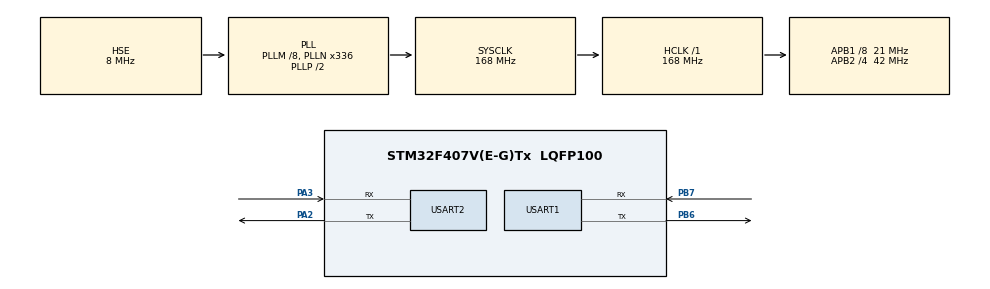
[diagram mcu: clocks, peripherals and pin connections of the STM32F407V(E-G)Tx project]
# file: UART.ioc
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Mcu.Family=STM32F4
Mcu.Name=STM32F407V(E-G)Tx
Mcu.Package=LQFP100
NVIC.PriorityGroup=NVIC_PRIORITYGROUP_0
NVIC.USART1_IRQn=true\:0\:0\:false\:false\:true\:true\:true
NVIC.USART2_IRQn=true\:0\:0\:false\:false\:true\:true\:true
PA2.Mode=Asynchronous
PA2.Signal=USART2_TX
PA3.Mode=Asynchronous
PA3.Signal=USART2_RX
PB6.Mode=Asynchronous
PB6.Signal=USART1_TX
PB7.Mode=Asynchronous
PB7.Signal=USART1_RX
PH0-OSC_IN.Mode=HSE-External-Oscillator
PH0-OSC_IN.Signal=RCC_OSC_IN
PH1-OSC_OUT.Mode=HSE-External-Oscillator
PH1-OSC_OUT.Signal=RCC_OSC_OUT
ProjectManager.HeapSize=0x200
ProjectManager.StackSize=0x400
ProjectManager.TargetToolchain=MDK-ARM V5.27
RCC.48MHZClocksFreq_Value=48000000
RCC.AHBFreq_Value=168000000
RCC.APB1CLKDivider=RCC_HCLK_DIV8
RCC.APB1Freq_Value=21000000
RCC.APB1TimFreq_Value=42000000
RCC.APB2CLKDivider=RCC_HCLK_DIV4
RCC.APB2Freq_Value=42000000
RCC.APB2TimFreq_Value=84000000
RCC.CortexFreq_Value=168000000
RCC.HCLKFreq_Value=168000000
RCC.HSE_VALUE=8000000
RCC.HSI_VALUE=16000000
RCC.LSE_VALUE=32768
RCC.PLLM=8
RCC.PLLN=336
RCC.PLLQ=7
RCC.PLLSourceVirtual=RCC_PLLSOURCE_HSE
RCC.SYSCLKFreq_VALUE=168000000
RCC.SYSCLKSource=RCC_SYSCLKSOURCE_PLLCLK
RCC.VCOOutputFreq_Value=336000000
USART1.VirtualMode=VM_ASYNC
USART2.VirtualMode=VM_ASYNC
board=STM32F407G-DISC1

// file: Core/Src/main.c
/* USER CODE BEGIN Header */
/**
  ******************************************************************************
  * @file           : main.c
  * @brief          : Main program body
  ******************************************************************************
  * @attention
  *
  * <h2><center>&copy; Copyright (c) 2020 STMicroelectronics.
  * All rights reserved.</center></h2>
  *
  * This software component is licensed by ST under BSD 3-Clause license,
  * the "License"; You may not use this file except in compliance with the
  * License. You may obtain a copy of the License at:
  *                        opensource.org/licenses/BSD-3-Clause
  *
  ******************************************************************************
  */
/* USER CODE END Header */
#include "main.h"

/* USER CODE BEGIN Includes */
#include "H:\Jorge\UPM\master\TFM\PruebaARM\DobleUART\MDK-ARM\encode.h"
#include "H:\Jorge\UPM\master\TFM\PruebaARM\DobleUART\MDK-ARM\decode.h"
#include "H:\Jorge\UPM\master\TFM\PruebaARM\DobleUART\MDK-ARM\comandos.h"
#include <stdio.h>
#include <stdlib.h>
#include <string.h>
#include <stdio.h>

//#include <time.h>

/* USER CODE END Includes */

UART_HandleTypeDef huart1;
UART_HandleTypeDef huart2;

/* USER CODE BEGIN PV */

#define FRAME_HEADER_LEN 5
#define FRAME_PAYLOAD_MAX_LEN 1268

/* USER CODE END PV */
uint8_t a = 0x32;
size_t ReceiveBufferSize = 512;
#define RX_SIZE 512
uint8_t PacketMarker = 0;
uint8_t cadena[3];
uint8_t receiveBuffer[RX_SIZE];
volatile int indice = 0;

/*int __io_putchar(int ch)
{
	HAL_UART_Transmit(&huart2,(uint8_t*)&ch, 1,100);
	return ch;
}*/

void SystemClock_Config(void);
static void MX_GPIO_Init(void);
static void MX_USART1_UART_Init(void);
static void MX_USART2_UART_Init(void);
/* USER CODE BEGIN PFP */

static void send(uint8_t *buffer, size_t size);
static void receive(void);
static void InicioFed(void);
static void XOR_CKS(uint8_t *frame);
uint8_t uart_recvChar(uint8_t *byte);
static void hextobin( const char *str, uint8_t *dst, size_t len );

/* USER CODE END PFP */

int main(void)
{

  /* MCU Configuration--------------------------------------------------------*/

  /* Reset of all peripherals, Initializes the Flash interface and the Systick. */
  HAL_Init();

  /* Configure the system clock */
  SystemClock_Config();

  /* Initialize all configured peripherals */
  MX_GPIO_Init();
  MX_USART1_UART_Init();
  MX_USART2_UART_Init();
  /* USER CODE BEGIN 2 */

	//HAL_UART_Receive_IT(&huart1, cadena, 1);

  /* USER CODE END 2 */
	InicioFed();
  /* Infinite loop */
  while (1)
  {
		send(Status,(sizeof(Status)/sizeof(Status[0])));
		receive();
		HAL_Delay(1000);
		send(ThreadVersion,(sizeof(ThreadVersion)/sizeof(ThreadVersion[0])));
		receive();
		HAL_Delay(5000);

  }
}

void SystemClock_Config(void)
{
  RCC_OscInitTypeDef RCC_OscInitStruct = {0};
  RCC_ClkInitTypeDef RCC_ClkInitStruct = {0};

  /** Configure the main internal regulator output voltage
  */
  __HAL_RCC_PWR_CLK_ENABLE();
  __HAL_PWR_VOLTAGESCALING_CONFIG(PWR_REGULATOR_VOLTAGE_SCALE1);
  /** Initializes the RCC Oscillators according to the specified parameters
  * in the RCC_OscInitTypeDef structure.
  */
  RCC_OscInitStruct.OscillatorType = RCC_OSCILLATORTYPE_HSE;
  RCC_OscInitStruct.HSEState = RCC_HSE_ON;
  RCC_OscInitStruct.PLL.PLLState = RCC_PLL_ON;
  RCC_OscInitStruct.PLL.PLLSource = RCC_PLLSOURCE_HSE;
  RCC_OscInitStruct.PLL.PLLM = 8;
  RCC_OscInitStruct.PLL.PLLN = 336;
  RCC_OscInitStruct.PLL.PLLP = RCC_PLLP_DIV2;
  RCC_OscInitStruct.PLL.PLLQ = 7;
  if (HAL_RCC_OscConfig(&RCC_OscInitStruct) != HAL_OK)
  {
    Error_Handler();
  }
  /** Initializes the CPU, AHB and APB buses clocks
  */
  RCC_ClkInitStruct.ClockType = RCC_CLOCKTYPE_HCLK|RCC_CLOCKTYPE_SYSCLK
                              |RCC_CLOCKTYPE_PCLK1|RCC_CLOCKTYPE_PCLK2;
  RCC_ClkInitStruct.SYSCLKSource = RCC_SYSCLKSOURCE_PLLCLK;
  RCC_ClkInitStruct.AHBCLKDivider = RCC_SYSCLK_DIV1;
  RCC_ClkInitStruct.APB1CLKDivider = RCC_HCLK_DIV8;
  RCC_ClkInitStruct.APB2CLKDivider = RCC_HCLK_DIV4;

  if (HAL_RCC_ClockConfig(&RCC_ClkInitStruct, FLASH_LATENCY_5) != HAL_OK)
  {
    Error_Handler();
  }
}

static void MX_USART1_UART_Init(void)
{

  huart1.Instance = USART1;
  huart1.Init.BaudRate = 115200;
  huart1.Init.WordLength = UART_WORDLENGTH_8B;
  huart1.Init.StopBits = UART_STOPBITS_1;
  huart1.Init.Parity = UART_PARITY_NONE;
  huart1.Init.Mode = UART_MODE_TX_RX;
  huart1.Init.HwFlowCtl = UART_HWCONTROL_NONE;
  huart1.Init.OverSampling = UART_OVERSAMPLING_16;
  if (HAL_UART_Init(&huart1) != HAL_OK)
  {
    Error_Handler();
  }

}

static void MX_USART2_UART_Init(void)
{

  huart2.Instance = USART2;
  huart2.Init.BaudRate = 115200;
  huart2.Init.WordLength = UART_WORDLENGTH_8B;
  huart2.Init.StopBits = UART_STOPBITS_1;
  huart2.Init.Parity = UART_PARITY_NONE;
  huart2.Init.Mode = UART_MODE_TX_RX;
  huart2.Init.HwFlowCtl = UART_HWCONTROL_NONE;
  huart2.Init.OverSampling = UART_OVERSAMPLING_16;
  if (HAL_UART_Init(&huart2) != HAL_OK)
  {
    Error_Handler();
  }

}

static void MX_GPIO_Init(void)
{

  /* GPIO Ports Clock Enable */
  __HAL_RCC_GPIOH_CLK_ENABLE();
  __HAL_RCC_GPIOA_CLK_ENABLE();
  __HAL_RCC_GPIOB_CLK_ENABLE();

}

/* USER CODE BEGIN 4 */
static void hextobin( const char *str, uint8_t *dst, size_t len )
{
  uint8_t pos, i0, i1;

  /* Mapping of ASCII characters to hex values */
  const uint8_t hashmap[] = {
      0x00, 0x01, 0x02, 0x03, 0x04, 0x05, 0x06, 0x07, // 01234567
      0x08, 0x09, 0x00, 0x00, 0x00, 0x00, 0x00, 0x00, // 89:;<=>?
      0x00, 0x0a, 0x0b, 0x0c, 0x0d, 0x0e, 0x0f, 0x00, // @ABCDEFG
      0x00, 0x00, 0x00, 0x00, 0x00, 0x00, 0x00, 0x00, // HIJKLMNO
  };

  for ( pos = 0; ( ( pos < ( len * 2 ) ) && ( pos < strlen( str ) ) );
        pos += 2 )
  {
    i0             = ( ( uint8_t ) str[ pos + 0 ] & 0x1F ) ^ 0x10;
    i1             = ( ( uint8_t ) str[ pos + 1 ] & 0x1F ) ^ 0x10;
    dst[ pos / 2 ] = ( uint8_t )( hashmap[ i0 ] << 4 ) | hashmap[ i1 ];
  };
}

static void XOR_CKS(uint8_t *frame)
{
	uint8_t cks = 0;
	for(int i=0; i<((sizeof(frame))/(sizeof(frame[0])));i++)
	{
		if(i != CKS_POS)
			cks ^= frame[i];
	}
}

static  void InicioFed(void)
{
	//Clear
	HAL_Delay(1000);
	send(ComClear, (sizeof(ComClear)/sizeof(ComClear[0])));
	HAL_Delay(3000);

	//Channel
	//printf("Channel\n\r");
	send(WriteChannel,(sizeof(WriteChannel)/sizeof(WriteChannel[0])));
	receive();

	//Join Credential
	HAL_Delay(1000);
	send(WriteJoinCred,(sizeof(WriteJoinCred)/sizeof(WriteJoinCred[0])));
	receive();

	//Role
	HAL_Delay(1000);
	//printf("Role\n\r");
  send(WriteRole,(sizeof(WriteRole)/sizeof(WriteRole[0])));
	receive();

	HAL_Delay(1000);
	//IFUP
	send(ifup,(sizeof(ifup)/sizeof(ifup[0])));
	receive();
	HAL_Delay(5000);
}

static void send(uint8_t *buffer, size_t size)
{
	uint8_t _encodeBuffer[getEncodedBufferSize(size)];
	size_t numEncoded = encode(buffer, size, _encodeBuffer);
	HAL_UART_Transmit(&huart1,&PacketMarker,sizeof(PacketMarker),1000);
	HAL_UART_Transmit(&huart1,_encodeBuffer,sizeof(_encodeBuffer)/sizeof(_encodeBuffer[0]),1000);

}

uint8_t uart_recvChar(uint8_t *byte)
{
	return (*byte);
}

static void receive()
{

	//HAL_Delay(10);
	uint8_t receivebuffer[512];
	uint8_t result;
	int i=0;
	uint8_t c;
	char d[] = "\n\r";
	while(HAL_UART_Receive(&huart1, &c,1,1000) == HAL_OK)
	{
		receivebuffer[i]=c;
		i++;
	}
	uint8_t decodedbuffer[i*2 +1];
	/*do
	{
		result=cobs_decode(decodedbuffer,i*2 +1,uart_recvChar,(*receivebuffer)++);

	}while(result == 0);*/
	result=decode(receivebuffer,i*2 +1,decodedbuffer);
	HAL_UART_Transmit(&huart2, decodedbuffer,i*2 +1,10);
	//HAL_UART_Transmit(&huart2, &x,1,10);

}
/* USER CODE END 4 */

void HAL_UART_RxCpltCallback(UART_HandleTypeDef *huart)
{
  /* Prevent unused argument(s) compilation warning */
  //UNUSED(huart);
	if(huart->Instance == USART1)
	{
		uint8_t dato = cadena[0];
		receiveBuffer[indice++] = dato;
		if(indice >= RX_SIZE)
		{
			indice = 0;
		}
		if(indice >= RX_SIZE)
		{
			indice = 0;
		}

	}
	HAL_UART_Receive_IT(&huart1, cadena, 1);
  /* NOTE: This function should not be modified, when the callback is needed,
           the HAL_UART_RxCpltCallback could be implemented in the user file
   */
}

void Error_Handler(void)
{
}

/************************ (C) COPYRIGHT STMicroelectronics *****END OF FILE****/
